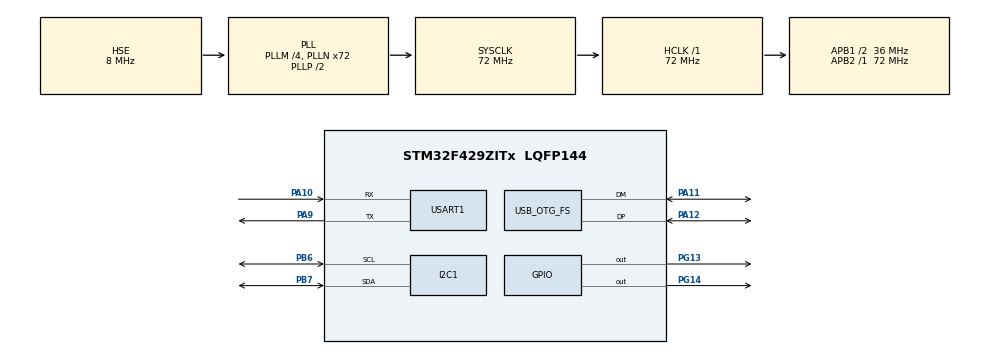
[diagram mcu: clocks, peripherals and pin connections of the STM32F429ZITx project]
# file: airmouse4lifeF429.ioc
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Mcu.Family=STM32F4
Mcu.Name=STM32F429ZITx
Mcu.Package=LQFP144
NVIC.OTG_FS_IRQn=true\:0\:0\:false\:false\:true\:false\:true\:true
NVIC.PriorityGroup=NVIC_PRIORITYGROUP_4
PA10.Mode=Asynchronous
PA10.Signal=USART1_RX
PA11.Mode=Device_Only
PA11.Signal=USB_OTG_FS_DM
PA12.Mode=Device_Only
PA12.Signal=USB_OTG_FS_DP
PA9.Mode=Asynchronous
PA9.Signal=USART1_TX
PB6.Mode=I2C
PB6.Signal=I2C1_SCL
PB7.Mode=I2C
PB7.Signal=I2C1_SDA
PG13.Signal=GPIO_Output
PG14.Signal=GPIO_Output
PH0/OSC_IN.Mode=HSE-External-Oscillator
PH0/OSC_IN.Signal=RCC_OSC_IN
PH1/OSC_OUT.Mode=HSE-External-Oscillator
PH1/OSC_OUT.Signal=RCC_OSC_OUT
ProjectManager.HeapSize=0x200
ProjectManager.StackSize=0x400
ProjectManager.TargetToolchain=STM32CubeIDE
RCC.48MHZClocksFreq_Value=48000000
RCC.AHBFreq_Value=72000000
RCC.APB1CLKDivider=RCC_HCLK_DIV2
RCC.APB1Freq_Value=36000000
RCC.APB1TimFreq_Value=72000000
RCC.APB2Freq_Value=72000000
RCC.APB2TimFreq_Value=72000000
RCC.CortexFreq_Value=72000000
RCC.HCLKFreq_Value=72000000
RCC.HSE_VALUE=8000000
RCC.HSI_VALUE=16000000
RCC.LSE_VALUE=32768
RCC.PLLM=4
RCC.PLLN=72
RCC.PLLQ=3
RCC.SYSCLKFreq_VALUE=72000000
RCC.SYSCLKSource=RCC_SYSCLKSOURCE_PLLCLK
RCC.VCOOutputFreq_Value=144000000
USART1.VirtualMode=VM_ASYNC
USB_DEVICE.CLASS_NAME_FS=HID
USB_DEVICE.PRODUCT_STRING_HID_FS=TLV
USB_DEVICE.VirtualMode-HID_FS=Hid
USB_DEVICE.VirtualModeFS=Hid_FS
USB_OTG_FS.VirtualMode=Device_Only
VP_USB_DEVICE_VS_USB_DEVICE_HID_FS.Mode=HID_FS
board=custom

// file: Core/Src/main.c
/* USER CODE BEGIN Header */
/**
  ******************************************************************************
  * @file           : main.c
  * @brief          : Main program body
  ******************************************************************************
  * @attention
  *
  * Copyright (c) 2025 STMicroelectronics.
  * All rights reserved.
  *
  * This software is licensed under terms that can be found in the LICENSE file
  * in the root directory of this software component.
  * If no LICENSE file comes with this software, it is provided AS-IS.
  *
  ******************************************************************************
  */
/* USER CODE END Header */
#include "main.h"
#include "mpu6050.h"
#include "stdio.h"
#include "string.h"
#include "math.h"
#include <stdlib.h>
#include "stm32f4xx_hal_uart.h"
#include "usb_device.h"
#include "usbd_hid.h"
#include "i2c.h"

/* USER CODE BEGIN PTD */
MPU6050_t MPU6050;
//uint8_t HID_Buffer[3];

/* USER CODE END PTD */

UART_HandleTypeDef huart1;
extern USBD_HandleTypeDef hUsbDeviceFS;

void SystemClock_Config(void);
static void MX_GPIO_Init(void);
static void MX_USART1_UART_Init(void);

/* USER CODE BEGIN 0 */

//void SendDataOverUART(MPU6050_t *MPU6050,int x,int y)
//{
//    // Send data in CSV format
//    char buffer[200];
//    sprintf(
//        buffer,
//        "x:%d.%02d, y:%d.%02d, z:%d.%02d\r\n",
//        (int)MPU6050->Ax, abs((int)(MPU6050->Ax * 100) % 100),
//        (int)MPU6050->Ay, abs((int)(MPU6050->Ay * 100) % 100),
//        (int)MPU6050->Az, abs((int)(MPU6050->Az * 100) % 100)
//    );
//
//    // Send the data over UART
//    HAL_GPIO_TogglePin(GPIOG, GPIO_PIN_14);
//    HAL_UART_Transmit(&huart1, (uint8_t *)buffer, strlen(buffer), HAL_MAX_DELAY);
//}

void SendDataOverUART(MPU6050_t *MPU6050, int8_t xMove, int8_t yMove)
{
    char buffer[300];
    //        "x:%d.%02d, y:%d.%02d, z:%d.%02d\r\n",

    sprintf(buffer,
        "x:%d.%02d, y:%d.%02d, z:%d, t:%d\r\n",
        (int)MPU6050->KalmanAngleX, abs((int)(MPU6050->KalmanAngleX * 100) % 100),
        (int)MPU6050->KalmanAngleY, abs((int)(MPU6050->KalmanAngleY * 100) % 100),
        xMove, yMove
    );

    HAL_UART_Transmit(&huart1, (uint8_t *)buffer, strlen(buffer), HAL_MAX_DELAY);
}

void Scan_I2C_Addresses(void)
{
    uint8_t i;
    uint8_t ret;
    char buffer[50];

    sprintf(buffer, "Scanning I2C addresses...\r\n");
    HAL_UART_Transmit(&huart1, (uint8_t*)buffer, strlen(buffer), HAL_MAX_DELAY);

    for(i = 1; i < 128; i++)
    {
        ret = HAL_I2C_IsDeviceReady(&hi2c1, (i << 1), 2, 100);

        if(ret == HAL_OK)
        {
            sprintf(buffer, "I2C device found at address: 0x%02X\r\n", i);
            HAL_UART_Transmit(&huart1, (uint8_t*)buffer, strlen(buffer), HAL_MAX_DELAY);
//            HAL_GPIO_WritePin(GPIOG, GPIO_PIN_13,GPIO_PIN_SET);
        }
    }

    sprintf(buffer, "I2C scan completed\r\n");
    HAL_GPIO_WritePin(GPIOG,GPIO_PIN_14,GPIO_PIN_SET);
    HAL_UART_Transmit(&huart1, (uint8_t*)buffer, strlen(buffer), HAL_MAX_DELAY);
}

void Process_Gyro_Mouse(void)
{
    MPU6050_Read_All(&hi2c1, &MPU6050);

    float scale = 0.3f;
    int8_t xMove = (int8_t)(MPU6050.KalmanAngleX * scale);
    int8_t yMove = (int8_t)(MPU6050.KalmanAngleY * scale);

    // Deadzone filtering
    if (abs(xMove) < 1) xMove = 0;
    if (abs(yMove) < 1) yMove = 0;

    // Read buttons
    uint8_t buttons = 0;
    if (HAL_GPIO_ReadPin(GPIOA, GPIO_PIN_2) == GPIO_PIN_SET) buttons |= 0x01;
    if (HAL_GPIO_ReadPin(GPIOA, GPIO_PIN_3) == GPIO_PIN_SET) buttons |= 0x02;

    // Send UART debug
    SendDataOverUART(&MPU6050, xMove, yMove);

    // Send HID report if needed
    if (xMove != 0 || yMove != 0 || buttons != 0) {
        uint8_t HID_Buffer[4] = {buttons, xMove, -yMove, 0};  // Invert Y for natural feel
        USBD_HID_SendReport(&hUsbDeviceFS, HID_Buffer, sizeof(HID_Buffer));
        HAL_Delay(10); // match USB HID polling rate
    }
}

//void Debug_Print_Status(void)
//{
//    char buffer[100];
//    sprintf(buffer, "x: %.2f, y: %.2f\r\n",
//            MPU6050.KalmanAngleX, MPU6050.KalmanAngleY);
//    HAL_UART_Transmit(&huart1, (uint8_t*)buffer, strlen(buffer), HAL_MAX_DELAY);
//}

/* USER CODE END 0 */

int main(void)
{

  /* MCU Configuration--------------------------------------------------------*/

  /* Reset of all peripherals, Initializes the Flash interface and the Systick. */
  HAL_Init();

  /* Configure the system clock */
  SystemClock_Config();

  /* Initialize all configured peripherals */
  MX_GPIO_Init();
  MX_I2C1_Init();
  MX_USB_DEVICE_Init();
  MX_USART1_UART_Init();
  /* USER CODE BEGIN 2 */
  Scan_I2C_Addresses();

  uint8_t init_attempts = 0;

 while(MPU6050_Init(&hi2c1) == 1) {
   init_attempts++;
    HAL_UART_Transmit(&huart1, (uint8_t *)"MPU6050 Init Failed, retrying...\r\n", 34, HAL_MAX_DELAY);
   HAL_Delay(500);
   if(init_attempts > 10) {
     HAL_UART_Transmit(&huart1, (uint8_t *)"MPU6050 Init Failed permanently!\r\n", 35, HAL_MAX_DELAY);
     break;
   }
 }

 if(init_attempts <= 10) {
//	 HAL_GPIO_WritePin(GPIOG,GPIO_PIN_13,GPIO_PIN_SET);
	 HAL_UART_Transmit(&huart1, (uint8_t *)"MPU6050 Initialized Successfully!\r\n", 36, HAL_MAX_DELAY);
 }

 HAL_Delay(1000);

  /* USER CODE END 2 */

  /* Infinite loop */
  while (1)
  {
	    Process_Gyro_Mouse();

	    static uint32_t last_debug_time = 0;
	    if (HAL_GetTick() - last_debug_time > 5000) {
	        last_debug_time = HAL_GetTick();
//	        Debug_Print_Status();
	    }

}
}

void SystemClock_Config(void)
{
  RCC_OscInitTypeDef RCC_OscInitStruct = {0};
  RCC_ClkInitTypeDef RCC_ClkInitStruct = {0};

  /** Configure the main internal regulator output voltage
  */
  __HAL_RCC_PWR_CLK_ENABLE();
  __HAL_PWR_VOLTAGESCALING_CONFIG(PWR_REGULATOR_VOLTAGE_SCALE3);

  /** Initializes the RCC Oscillators according to the specified parameters
  * in the RCC_OscInitTypeDef structure.
  */
  RCC_OscInitStruct.OscillatorType = RCC_OSCILLATORTYPE_HSE;
  RCC_OscInitStruct.HSEState = RCC_HSE_ON;
  RCC_OscInitStruct.PLL.PLLState = RCC_PLL_ON;
  RCC_OscInitStruct.PLL.PLLSource = RCC_PLLSOURCE_HSE;
  RCC_OscInitStruct.PLL.PLLM = 4;
  RCC_OscInitStruct.PLL.PLLN = 72;
  RCC_OscInitStruct.PLL.PLLP = RCC_PLLP_DIV2;
  RCC_OscInitStruct.PLL.PLLQ = 3;
  if (HAL_RCC_OscConfig(&RCC_OscInitStruct) != HAL_OK)
  {
    Error_Handler();
  }

  /** Initializes the CPU, AHB and APB buses clocks
  */
  RCC_ClkInitStruct.ClockType = RCC_CLOCKTYPE_HCLK|RCC_CLOCKTYPE_SYSCLK
                              |RCC_CLOCKTYPE_PCLK1|RCC_CLOCKTYPE_PCLK2;
  RCC_ClkInitStruct.SYSCLKSource = RCC_SYSCLKSOURCE_PLLCLK;
  RCC_ClkInitStruct.AHBCLKDivider = RCC_SYSCLK_DIV1;
  RCC_ClkInitStruct.APB1CLKDivider = RCC_HCLK_DIV2;
  RCC_ClkInitStruct.APB2CLKDivider = RCC_HCLK_DIV1;

  if (HAL_RCC_ClockConfig(&RCC_ClkInitStruct, FLASH_LATENCY_2) != HAL_OK)
  {
    Error_Handler();
  }
}

void MX_USART1_UART_Init(void)
{

  huart1.Instance = USART1;
  huart1.Init.BaudRate = 115200;
  huart1.Init.WordLength = UART_WORDLENGTH_8B;
  huart1.Init.StopBits = UART_STOPBITS_1;
  huart1.Init.Parity = UART_PARITY_NONE;
  huart1.Init.Mode = UART_MODE_TX_RX;
  huart1.Init.HwFlowCtl = UART_HWCONTROL_NONE;
  huart1.Init.OverSampling = UART_OVERSAMPLING_16;
  if (HAL_UART_Init(&huart1) != HAL_OK)
  {
    Error_Handler();
  }

}

static void MX_GPIO_Init(void)
{
  /* USER CODE BEGIN MX_GPIO_Init_1 */
  GPIO_InitTypeDef GPIO_InitStruct = {0};

  /* GPIO Ports Clock Enable */
  __HAL_RCC_GPIOD_CLK_ENABLE();

  // UART GPIO Configuration
  GPIO_InitStruct.Pin = GPIO_PIN_9 | GPIO_PIN_10;
  GPIO_InitStruct.Mode = GPIO_MODE_AF_PP;
  GPIO_InitStruct.Pull = GPIO_NOPULL;
  GPIO_InitStruct.Speed = GPIO_SPEED_FREQ_VERY_HIGH;
  GPIO_InitStruct.Alternate = GPIO_AF7_USART1;
  HAL_GPIO_Init(GPIOA, &GPIO_InitStruct);

  GPIO_InitStruct.Pin =  GPIO_PIN_2 | GPIO_PIN_3;
  GPIO_InitStruct.Mode = GPIO_MODE_INPUT;
  GPIO_InitStruct.Pull = GPIO_NOPULL;
  GPIO_InitStruct.Speed = GPIO_SPEED_FREQ_LOW;
  HAL_GPIO_Init(GPIOA, &GPIO_InitStruct);

  GPIO_InitStruct.Pin = GPIO_PIN_13 | GPIO_PIN_14;
  GPIO_InitStruct.Mode = GPIO_MODE_OUTPUT_PP;
  GPIO_InitStruct.Pull = GPIO_NOPULL;
  GPIO_InitStruct.Speed = GPIO_SPEED_FREQ_LOW;
  HAL_GPIO_Init(GPIOG, &GPIO_InitStruct);

//  GPIO_InitStruct.Pin = GPIO_PIN_12 | GPIO_PIN_13 | GPIO_PIN_14;
//  GPIO_InitStruct.Mode = GPIO_MODE_OUTPUT_PP;
//  GPIO_InitStruct.Pull = GPIO_NOPULL;
//  GPIO_InitStruct.Speed = GPIO_SPEED_FREQ_LOW;
//  HAL_GPIO_Init(GPIOD, &GPIO_InitStruct);

  /* USER CODE END MX_GPIO_Init_1 */

  /* GPIO Ports Clock Enable */
  __HAL_RCC_GPIOH_CLK_ENABLE();
  __HAL_RCC_GPIOA_CLK_ENABLE();
  __HAL_RCC_GPIOG_CLK_ENABLE();
  __HAL_RCC_GPIOB_CLK_ENABLE();

  /*Configure GPIO pin Output Level */
  HAL_GPIO_WritePin(GPIOG, GPIO_PIN_13|GPIO_PIN_14, GPIO_PIN_RESET);

  /*Configure GPIO pins : PG13 PG14 */
  GPIO_InitStruct.Pin = GPIO_PIN_13|GPIO_PIN_14;
  GPIO_InitStruct.Mode = GPIO_MODE_OUTPUT_PP;
  GPIO_InitStruct.Pull = GPIO_NOPULL;
  GPIO_InitStruct.Speed = GPIO_SPEED_FREQ_LOW;
  HAL_GPIO_Init(GPIOG, &GPIO_InitStruct);

  /* USER CODE BEGIN MX_GPIO_Init_2 */

  // NOTE: I2C GPIO configuration is now handled in HAL_I2C_MspInit()
  // Remove the I2C GPIO configuration from here to avoid conflicts

  /* USER CODE END MX_GPIO_Init_2 */
}

void Error_Handler(void)
{
  __disable_irq();
  while (1)
  {
  }
}
